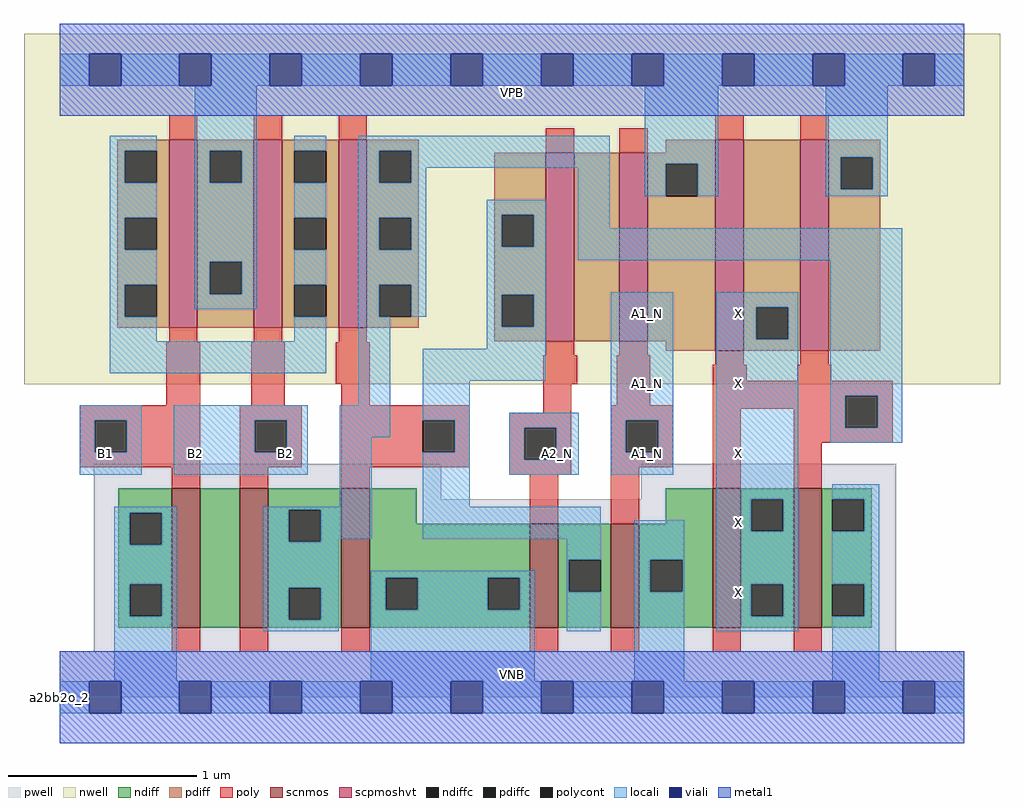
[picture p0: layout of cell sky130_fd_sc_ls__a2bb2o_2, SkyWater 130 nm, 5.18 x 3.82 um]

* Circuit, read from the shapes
.subckt sky130_fd_sc_ls__a2bb2o_2 A1_N A2_N B1 B2 VGND VNB VPB VPWR X
XM1 n1 B1 VGND VNB sky130_fd_pr__nfet_01v8 w=0.74 l=0.15
XM2 n2 B2 n1 VNB sky130_fd_pr__nfet_01v8 w=0.74 l=0.15
XM3 VGND n3 n2 VNB sky130_fd_pr__nfet_01v8 w=0.74 l=0.15
XM4 n3 A2_N VGND VNB sky130_fd_pr__nfet_01v8 w=0.55 l=0.15
XM5 VGND A1_N n3 VNB sky130_fd_pr__nfet_01v8 w=0.55 l=0.15
XM6 X n2 VGND VNB sky130_fd_pr__nfet_01v8 w=0.74 l=0.15 m=2
XM7 VPWR B1 n4 VPB sky130_fd_pr__pfet_01v8_hvt w=1 l=0.15
XM8 n4 B2 VPWR VPB sky130_fd_pr__pfet_01v8_hvt w=1 l=0.15
XM9 n2 n3 n4 VPB sky130_fd_pr__pfet_01v8_hvt w=1 l=0.15
XM10 n5 A2_N n3 VPB sky130_fd_pr__pfet_01v8_hvt w=1 l=0.15
XM11 VPWR A1_N n5 VPB sky130_fd_pr__pfet_01v8_hvt w=1 l=0.15
XM12 X n2 VPWR VPB sky130_fd_pr__pfet_01v8_hvt w=1.12 l=0.15 m=2
.ends

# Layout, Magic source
magic
tech sky130A
magscale 1 2
<< nwell >>
rect -38 332 998 704
<< pwell >>
rect 36 210 405 248
rect 617 210 888 248
rect 36 49 888 210
rect 0 0 960 49
<< scnmos >>
rect 119 74 149 222
rect 191 74 221 222
rect 299 74 329 222
rect 499 74 529 184
rect 585 74 615 184
rect 693 74 723 222
rect 779 74 809 222
<< scpmoshvt >>
rect 116 392 146 592
rect 206 392 236 592
rect 296 392 326 592
rect 516 378 546 578
rect 594 378 624 578
rect 696 368 726 592
rect 786 368 816 592
<< ndiff >>
rect 62 196 119 222
rect 62 162 74 196
rect 108 162 119 196
rect 62 120 119 162
rect 62 86 74 120
rect 108 86 119 120
rect 62 74 119 86
rect 149 74 191 222
rect 221 199 299 222
rect 221 165 243 199
rect 277 165 299 199
rect 221 116 299 165
rect 221 82 243 116
rect 277 82 299 116
rect 221 74 299 82
rect 329 184 379 222
rect 643 184 693 222
rect 329 127 499 184
rect 329 93 346 127
rect 380 93 454 127
rect 488 93 499 127
rect 329 74 499 93
rect 529 146 585 184
rect 529 112 540 146
rect 574 112 585 146
rect 529 74 585 112
rect 615 146 693 184
rect 615 112 627 146
rect 661 112 693 146
rect 615 74 693 112
rect 723 210 779 222
rect 723 176 734 210
rect 768 176 779 210
rect 723 120 779 176
rect 723 86 734 120
rect 768 86 779 120
rect 723 74 779 86
rect 809 210 862 222
rect 809 176 820 210
rect 854 176 862 210
rect 809 120 862 176
rect 809 86 820 120
rect 854 86 862 120
rect 809 74 862 86
<< pdiff >>
rect 61 580 116 592
rect 61 546 69 580
rect 103 546 116 580
rect 61 509 116 546
rect 61 475 69 509
rect 103 475 116 509
rect 61 438 116 475
rect 61 404 69 438
rect 103 404 116 438
rect 61 392 116 404
rect 146 580 206 592
rect 146 546 159 580
rect 193 546 206 580
rect 146 462 206 546
rect 146 428 159 462
rect 193 428 206 462
rect 146 392 206 428
rect 236 580 296 592
rect 236 546 249 580
rect 283 546 296 580
rect 236 509 296 546
rect 236 475 249 509
rect 283 475 296 509
rect 236 438 296 475
rect 236 404 249 438
rect 283 404 296 438
rect 236 392 296 404
rect 326 580 381 592
rect 326 546 339 580
rect 373 546 381 580
rect 643 578 696 592
rect 326 509 381 546
rect 326 475 339 509
rect 373 475 381 509
rect 326 438 381 475
rect 326 404 339 438
rect 373 404 381 438
rect 326 392 381 404
rect 461 512 516 578
rect 461 478 469 512
rect 503 478 516 512
rect 461 427 516 478
rect 461 393 469 427
rect 503 393 516 427
rect 461 378 516 393
rect 546 378 594 578
rect 624 566 696 578
rect 624 532 643 566
rect 677 532 696 566
rect 624 378 696 532
rect 643 368 696 378
rect 726 414 786 592
rect 726 380 739 414
rect 773 380 786 414
rect 726 368 786 380
rect 816 573 871 592
rect 816 539 829 573
rect 863 539 871 573
rect 816 368 871 539
<< ndiffc >>
rect 74 162 108 196
rect 74 86 108 120
rect 243 165 277 199
rect 243 82 277 116
rect 346 93 380 127
rect 454 93 488 127
rect 540 112 574 146
rect 627 112 661 146
rect 734 176 768 210
rect 734 86 768 120
rect 820 176 854 210
rect 820 86 854 120
<< pdiffc >>
rect 69 546 103 580
rect 69 475 103 509
rect 69 404 103 438
rect 159 546 193 580
rect 159 428 193 462
rect 249 546 283 580
rect 249 475 283 509
rect 249 404 283 438
rect 339 546 373 580
rect 339 475 373 509
rect 339 404 373 438
rect 469 478 503 512
rect 469 393 503 427
rect 643 532 677 566
rect 739 380 773 414
rect 829 539 863 573
<< poly >>
rect 116 592 146 618
rect 206 592 236 618
rect 296 592 326 618
rect 516 578 546 604
rect 594 578 624 604
rect 696 592 726 618
rect 786 592 816 618
rect 116 377 146 392
rect 206 377 236 392
rect 296 377 326 392
rect 113 310 149 377
rect 203 310 239 377
rect 293 333 329 377
rect 516 363 546 378
rect 594 363 624 378
rect 299 310 329 333
rect 513 332 549 363
rect 21 294 149 310
rect 21 260 37 294
rect 71 260 149 294
rect 21 244 149 260
rect 119 222 149 244
rect 191 294 257 310
rect 191 260 207 294
rect 241 260 257 294
rect 191 244 257 260
rect 299 294 435 310
rect 513 302 543 332
rect 591 310 627 363
rect 696 353 726 368
rect 786 353 816 368
rect 693 336 729 353
rect 783 336 819 353
rect 693 320 884 336
rect 299 260 385 294
rect 419 260 435 294
rect 299 244 435 260
rect 477 286 543 302
rect 477 252 493 286
rect 527 252 543 286
rect 191 222 221 244
rect 299 222 329 244
rect 477 236 543 252
rect 585 294 651 310
rect 585 260 601 294
rect 635 260 651 294
rect 585 244 651 260
rect 693 306 834 320
rect 499 184 529 236
rect 585 184 615 244
rect 693 222 723 306
rect 779 286 834 306
rect 868 286 884 320
rect 779 270 884 286
rect 779 222 809 270
rect 119 48 149 74
rect 191 48 221 74
rect 299 48 329 74
rect 499 48 529 74
rect 585 48 615 74
rect 693 48 723 74
rect 779 48 809 74
<< polycont >>
rect 37 260 71 294
rect 207 260 241 294
rect 385 260 419 294
rect 493 252 527 286
rect 601 260 635 294
rect 834 286 868 320
<< locali >>
rect 0 649 31 683
rect 65 649 127 683
rect 161 649 223 683
rect 257 649 319 683
rect 353 649 415 683
rect 449 649 511 683
rect 545 649 607 683
rect 641 649 703 683
rect 737 649 799 683
rect 833 649 895 683
rect 929 649 960 683
rect 53 580 103 596
rect 53 546 69 580
rect 53 509 103 546
rect 53 475 69 509
rect 53 438 103 475
rect 53 404 69 438
rect 143 580 209 649
rect 143 546 159 580
rect 193 546 209 580
rect 143 462 209 546
rect 143 428 159 462
rect 193 428 209 462
rect 143 412 209 428
rect 249 580 283 596
rect 249 509 283 546
rect 249 438 283 475
rect 53 378 103 404
rect 249 378 283 404
rect 53 344 283 378
rect 317 580 584 596
rect 317 546 339 580
rect 373 562 584 580
rect 373 546 389 562
rect 317 509 389 546
rect 317 475 339 509
rect 373 475 389 509
rect 317 438 389 475
rect 317 404 339 438
rect 373 404 389 438
rect 453 512 516 528
rect 453 478 469 512
rect 503 478 516 512
rect 453 427 516 478
rect 550 498 584 562
rect 621 566 699 649
rect 621 532 643 566
rect 677 532 699 566
rect 813 573 879 649
rect 813 539 829 573
rect 863 539 879 573
rect 813 532 879 539
rect 550 464 894 498
rect 317 310 351 404
rect 453 393 469 427
rect 503 393 516 427
rect 453 370 516 393
rect 21 294 87 310
rect 21 260 37 294
rect 71 260 87 294
rect 21 236 87 260
rect 121 294 263 310
rect 121 260 207 294
rect 241 260 263 294
rect 121 236 263 260
rect 297 276 351 310
rect 385 336 516 370
rect 385 294 435 336
rect 297 202 331 276
rect 58 196 124 202
rect 58 162 74 196
rect 108 162 124 196
rect 58 120 124 162
rect 58 86 74 120
rect 108 86 124 120
rect 58 17 124 86
rect 216 199 331 202
rect 216 165 243 199
rect 277 168 331 199
rect 419 260 435 294
rect 385 202 435 260
rect 477 286 551 302
rect 477 252 493 286
rect 527 252 551 286
rect 477 236 551 252
rect 585 294 651 430
rect 585 260 601 294
rect 635 260 651 294
rect 585 236 651 260
rect 697 414 784 430
rect 697 380 739 414
rect 773 380 784 414
rect 697 210 784 380
rect 818 320 894 464
rect 818 286 834 320
rect 868 286 894 320
rect 818 270 894 286
rect 385 168 574 202
rect 277 165 296 168
rect 216 116 296 165
rect 538 146 574 168
rect 216 82 243 116
rect 277 82 296 116
rect 216 70 296 82
rect 330 127 504 134
rect 330 93 346 127
rect 380 93 454 127
rect 488 93 504 127
rect 330 17 504 93
rect 538 112 540 146
rect 538 70 574 112
rect 610 146 663 188
rect 610 112 627 146
rect 661 112 663 146
rect 610 17 663 112
rect 697 176 734 210
rect 768 176 784 210
rect 697 120 784 176
rect 697 86 734 120
rect 768 86 784 120
rect 697 70 784 86
rect 820 210 870 226
rect 854 176 870 210
rect 820 120 870 176
rect 854 86 870 120
rect 820 17 870 86
rect 0 -17 31 17
rect 65 -17 127 17
rect 161 -17 223 17
rect 257 -17 319 17
rect 353 -17 415 17
rect 449 -17 511 17
rect 545 -17 607 17
rect 641 -17 703 17
rect 737 -17 799 17
rect 833 -17 895 17
rect 929 -17 960 17
<< viali >>
rect 31 649 65 683
rect 127 649 161 683
rect 223 649 257 683
rect 319 649 353 683
rect 415 649 449 683
rect 511 649 545 683
rect 607 649 641 683
rect 703 649 737 683
rect 799 649 833 683
rect 895 649 929 683
rect 31 -17 65 17
rect 127 -17 161 17
rect 223 -17 257 17
rect 319 -17 353 17
rect 415 -17 449 17
rect 511 -17 545 17
rect 607 -17 641 17
rect 703 -17 737 17
rect 799 -17 833 17
rect 895 -17 929 17
<< metal1 >>
rect 0 683 960 715
rect 0 649 31 683
rect 65 649 127 683
rect 161 649 223 683
rect 257 649 319 683
rect 353 649 415 683
rect 449 649 511 683
rect 545 649 607 683
rect 641 649 703 683
rect 737 649 799 683
rect 833 649 895 683
rect 929 649 960 683
rect 0 617 960 649
rect 0 17 960 49
rect 0 -17 31 17
rect 65 -17 127 17
rect 161 -17 223 17
rect 257 -17 319 17
rect 353 -17 415 17
rect 449 -17 511 17
rect 545 -17 607 17
rect 641 -17 703 17
rect 737 -17 799 17
rect 833 -17 895 17
rect 929 -17 960 17
rect 0 -49 960 -17
<< labels >>
rlabel comment s 0 0 0 0 4 a2bb2o_2
flabel pwell s 0 0 960 49 0 FreeSans 200 0 0 0 VNB
port 6 nsew ground bidirectional
flabel nwell s 0 617 960 666 0 FreeSans 200 0 0 0 VPB
port 7 nsew power bidirectional
flabel metal1 s 0 617 960 666 0 FreeSans 340 0 0 0 VPWR
port 8 nsew power bidirectional abutment
flabel metal1 s 0 0 960 49 0 FreeSans 340 0 0 0 VGND
port 5 nsew ground bidirectional abutment
flabel locali s 127 242 161 276 0 FreeSans 340 0 0 0 B2
port 4 nsew signal input
flabel locali s 223 242 257 276 0 FreeSans 340 0 0 0 B2
port 4 nsew signal input
flabel locali s 31 242 65 276 0 FreeSans 340 0 0 0 B1
port 3 nsew signal input
flabel locali s 511 242 545 276 0 FreeSans 340 0 0 0 A2_N
port 2 nsew signal input
flabel locali s 703 94 737 128 0 FreeSans 340 0 0 0 X
port 9 nsew signal output
flabel locali s 703 168 737 202 0 FreeSans 340 0 0 0 X
port 9 nsew signal output
flabel locali s 703 242 737 276 0 FreeSans 340 0 0 0 X
port 9 nsew signal output
flabel locali s 703 316 737 350 0 FreeSans 340 0 0 0 X
port 9 nsew signal output
flabel locali s 703 390 737 424 0 FreeSans 340 0 0 0 X
port 9 nsew signal output
flabel locali s 607 242 641 276 0 FreeSans 340 0 0 0 A1_N
port 1 nsew signal input
flabel locali s 607 316 641 350 0 FreeSans 340 0 0 0 A1_N
port 1 nsew signal input
flabel locali s 607 390 641 424 0 FreeSans 340 0 0 0 A1_N
port 1 nsew signal input
<< properties >>
string LEFsite unit
string LEFclass CORE
string FIXED_BBOX 0 0 960 666
string GDS_FILE $PDKPATH/libs.ref/sky130_fd_sc_ls/gds/sky130_fd_sc_ls.gds
string LEFsymmetry X Y
string GDS_END 3799686
string GDS_START 3791112
<< end >>
